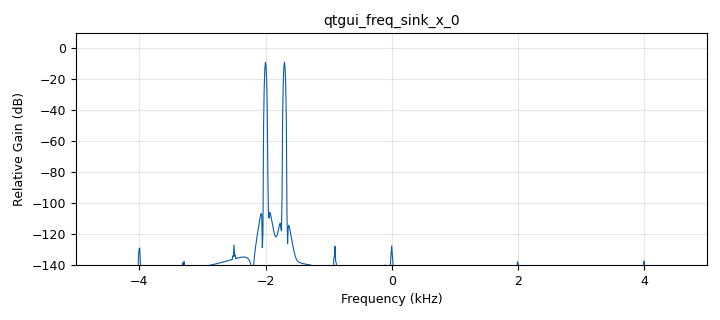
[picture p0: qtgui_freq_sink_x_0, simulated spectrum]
options:
  parameters:
    generate_options: qt_gui
    id: top_block
    output_language: python
  states: {}

blocks:
- name: fft_size
  id: variable
  parameters:
    value: '1024'
  states: {}
- name: plot
  id: variable
  parameters:
    value: '100'
  states: {}
- name: samp_rate
  id: variable
  parameters:
    value: 1e6/100
  states: {}
- name: sensor_count
  id: variable
  parameters:
    value: '2'
  states: {}
- name: variable_qtgui_range_1
  id: variable_qtgui_range
  parameters:
    orient: Qt.Horizontal
    start: '-2000'
    step: '1'
    stop: '1200'
    value: '-2000'
  states: {}
- name: blocks_add_xx_0
  id: blocks_add_xx
  parameters:
    type: complex
  states: {}
- name: blocks_stream_to_vector_0
  id: blocks_stream_to_vector
  parameters:
    num_items: fft_size
    type: complex
  states: {}
- name: blocks_throttle_0
  id: blocks_throttle
  parameters:
    samples_per_second: samp_rate*10
    type: complex
  states: {}
- name: qtgui_freq_sink_x_0
  id: qtgui_freq_sink_x
  parameters:
    bw: samp_rate
    fc: '0'
    fftsize: '1024'
    type: complex
    wintype: firdes.WIN_BLACKMAN_hARRIS
  states: {}
- name: spectral_analysis_peak_finding_cf_0
  id: spectral_analysis_peak_finding_cf
  parameters:
    fft_size: fft_size
    min_dist: '1'
    sensor_count: sensor_count
    thres: '0.03'
  states: {}
- name: spectral_analysis_periodogram_py_cc_0
  id: spectral_analysis_periodogram_py_cc
  parameters:
    fft_size: fft_size
    sample_rate: samp_rate
    window: boxcar
  states: {}
- name: spectral_analysis_temperature_calc_ff_0
  id: spectral_analysis_temperature_calc_ff
  parameters:
    fshift: 24e6 * 5
    offset: '[130.0,200.0]'
    polycoeff: '[[2.22769620e-02, -1.70367733e+00, -1.58914013e+01, 1.19999708e+08],[2.22769620e-02, -1.70367733e+00, -1.58914013e+01, 1.19999708e+08]]'
    sensor_count: sensor_count
  states: {}
- name: variable_qtgui_range_0
  id: analog_sig_source_x
  parameters:
    amp: '1'
    freq: variable_qtgui_range_1
    offset: '0'
    phase: '0'
    samp_rate: samp_rate
    type: complex
    waveform: analog.GR_SIN_WAVE
  states: {}
- name: variable_qtgui_range_0_0
  id: analog_sig_source_x
  parameters:
    amp: '1'
    freq: variable_qtgui_range_1+300
    offset: '0'
    phase: '0'
    samp_rate: samp_rate
    type: complex
    waveform: analog.GR_SIN_WAVE
  states: {}
- name: zeromq_push_sink_0_0
  id: zeromq_push_sink
  parameters:
    address: tcp://*:5588
    timeout: '10'
    type: float
    vlen: '2'
  states: {}
- name: zeromq_push_sink_0_0_0
  id: zeromq_push_sink
  parameters:
    address: tcp://*:5589
    timeout: '10'
    type: complex
  states: {}

connections:
- [blocks_add_xx_0, '0', blocks_throttle_0, '0']
- [blocks_stream_to_vector_0, '0', spectral_analysis_periodogram_py_cc_0, '0']
- [blocks_throttle_0, '0', blocks_stream_to_vector_0, '0']
- [blocks_throttle_0, '0', qtgui_freq_sink_x_0, '0']
- [blocks_throttle_0, '0', zeromq_push_sink_0_0_0, '0']
- [spectral_analysis_peak_finding_cf_0, '0', spectral_analysis_temperature_calc_ff_0, '0']
- [spectral_analysis_periodogram_py_cc_0, '0', spectral_analysis_peak_finding_cf_0, '0']
- [spectral_analysis_periodogram_py_cc_0, '1', spectral_analysis_peak_finding_cf_0, '1']
- [spectral_analysis_temperature_calc_ff_0, '0', zeromq_push_sink_0_0, '0']
- [variable_qtgui_range_0, '0', blocks_add_xx_0, '0']
- [variable_qtgui_range_0_0, '0', blocks_add_xx_0, '1']

metadata:
  file_format: 1
